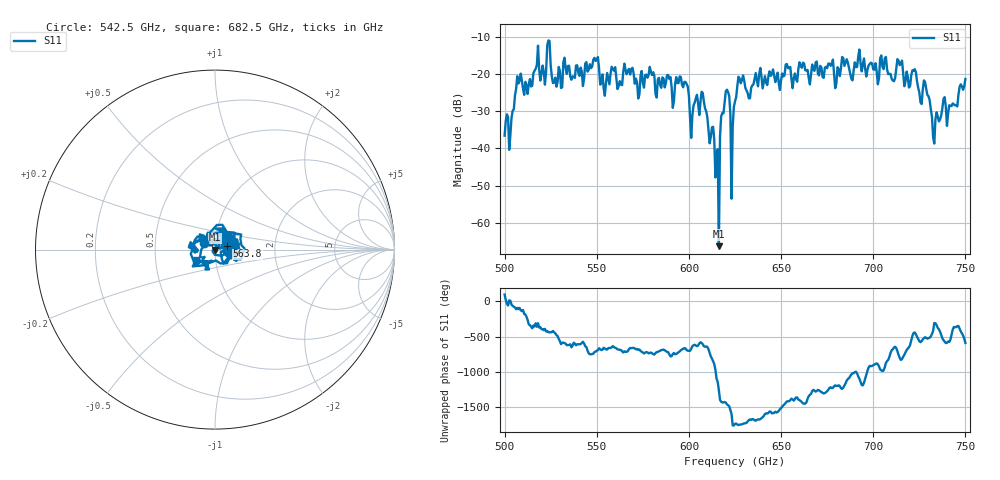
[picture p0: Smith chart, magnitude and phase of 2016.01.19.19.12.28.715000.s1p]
!Created with skrf (http://scikit-rf.org).
# GHz S RI R 50.0
!freq ReS11 ImS11
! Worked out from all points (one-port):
!   401 points, 500 GHz to 750 GHz, reference 50 ohm
!   lowest |S11| = -66.2 dB at 616.2 GHz (marker M1), VSWR 1.00, Z = 50 - j0.00162 ohm
!   |S11| at or under -10 dB: start of sweep to end of sweep
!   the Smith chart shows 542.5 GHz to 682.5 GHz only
!   S11 on the Smith chart (normalised r, x): 542.5 GHz: 0.89, +0.06; 563.8 GHz: 1.15, +0.04; 682.5 GHz: 0.81, -0.10
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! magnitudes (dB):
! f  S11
! 500 GHz  -36.6
! 503.8 GHz  -31.8
! 508.1 GHz  -21.9
! 523.8 GHz  -11.0
! 526.9 GHz  -22.3
! 531.2 GHz  -23.6
! 542.5 GHz  -23.2
! 549.4 GHz  -16.5
! 553.1 GHz  -20.1
! 562.5 GHz  -21.9
! 563.8 GHz  -23.0
! 593.8 GHz  -22.5
! 601.9 GHz  -31.1
! 608.1 GHz  -27.4
! 615 GHz  -41.1
! 616.2 GHz  -66.2
! 620 GHz  -24.7
! 623.8 GHz  -34.2
! 625 GHz  -27.4
! 628.1 GHz  -22.5
! 656.2 GHz  -23.8
! 682.5 GHz  -18.4
! 687.5 GHz  -19.7
! 714.4 GHz  -17.7
! 718.8 GHz  -20.7
! 728.8 GHz  -24.0
! 733.1 GHz  -38.7
! 750 GHz  -21.4
